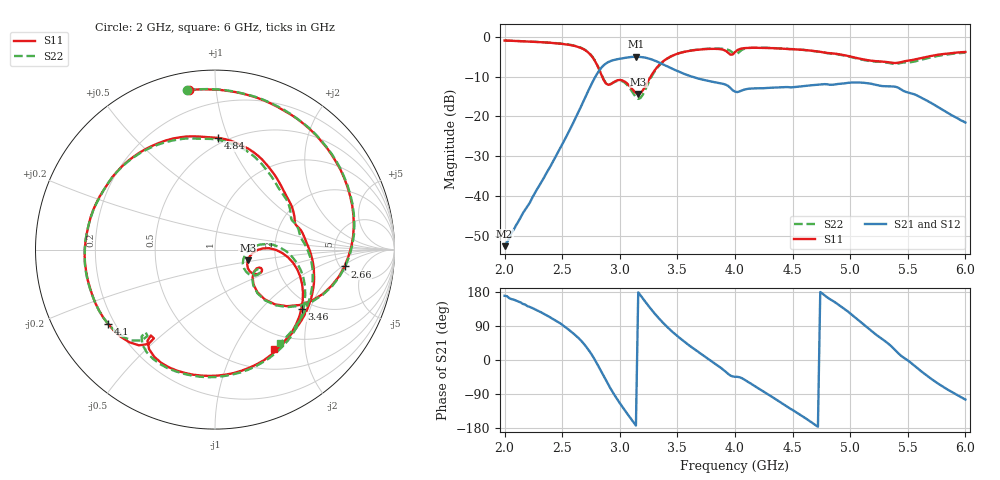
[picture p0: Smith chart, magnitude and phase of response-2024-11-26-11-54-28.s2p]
!Rohde-Schwarz,ZNB20-2Port,1311601062101657,3.32
!File generated by LCAF-GAM-iTEAM-UPV software
!jdelpin@iteam.upv.es ; josevmart@iteam.upv.es
!S2P File: Measurements: S11, S21, S12, S22:
# Hz S  dB  R 50
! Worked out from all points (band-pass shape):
!   201 points, 2 GHz to 6 GHz, reference 50 ohm
!   highest |S21| = -4.98 dB at 3.14 GHz (marker M1); lowest = -52.6 dB at 2 GHz (marker M2)
!   |S21| within 3 dB of the highest: 2.834 GHz to 3.453 GHz (618.7 MHz wide, 19.7 % of centre)
!   lowest |S11| = -14.3 dB at 3.16 GHz (marker M3), VSWR 1.48, Z = 71.7 - j8.82 ohm
!   |S11| at or under -10 dB: 2.847 GHz to 3.268 GHz (420.4 MHz wide, 13.8 % of centre)
!   |S22| runs from -15.6 to -0.9 dB; largest |S21 - S12| = 0.015
!   S11 on the Smith chart (normalised r, x): 2 GHz: 0.09, +0.85; 2.66 GHz: 5.46, -2.18; 3.46 GHz: 1.75, -1.75; 4.1 GHz: 0.17, -0.30; 4.84 GHz: 0.45, +0.92; 6 GHz: 0.77, -1.47
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2e9  -0.92 99.2  -52.59 169.3  -52.76 170.4  -0.90 100.0
2.34e9  -1.37 51.6  -35.46 121.8  -35.37 121.9  -1.34 52.1
2.66e9  -2.76 -7.4  -17.71 52.2  -17.62 52.0  -2.70 -7.2
2.68e9  -3.02 -12.3  -16.44 45.5  -16.38 45.3  -2.97 -12.1
2.76e9  -4.98 -33.2  -11.54 12.4  -11.46 12.7  -4.90 -33.4
2.84e9  -9.52 -45.1  -7.75 -30.8  -7.68 -30.8  -9.40 -45.8
2.94e9  -11.51 -22.1  -5.87 -85.7  -5.80 -86.1  -11.56 -24.2
3.04e9  -11.19 -29.5  -5.29 -131.3  -5.22 -131.8  -11.45 -32.8
3.14e9  -14.08 -24.9  -4.98 -173.0  -4.90 -174.4  -15.17 -27.3
3.16e9  -14.32 -17.9  -5.00 178.7  -4.92 177.2  -15.58 -18.6
3.34e9  -7.11 -9.6  -6.43 109.6  -6.36 109.0  -7.28 -5.5
3.46e9  -4.68 -34.3  -8.07 73.4  -8.00 72.9  -4.70 -31.1
3.74e9  -3.07 -88.7  -10.90 8.5  -10.83 8.6  -3.02 -86.0
4e9  -3.83 -125.2  -13.76 -44.3  -13.70 -44.3  -4.42 -130.1
4.1e9  -2.79 -145.3  -13.12 -55.4  -13.07 -55.5  -2.88 -140.9
4.36e9  -2.89 169.0  -12.72 -104.8  -12.66 -104.9  -2.85 172.3
4.68e9  -3.53 113.9  -12.11 -167.6  -12.05 -167.8  -3.55 117.8
4.84e9  -4.12 88.2  -12.04 157.8  -11.96 158.1  -4.19 92.4
5.1e9  -5.58 49.2  -11.50 97.9  -11.43 97.7  -5.71 53.5
5.34e9  -6.41 22.2  -12.42 40.8  -12.35 40.5  -6.58 26.0
5.72e9  -4.69 -19.1  -16.90 -53.3  -16.84 -53.3  -5.02 -14.0
6e9  -3.79 -59.3  -21.52 -104.4  -21.46 -104.7  -3.96 -55.1
